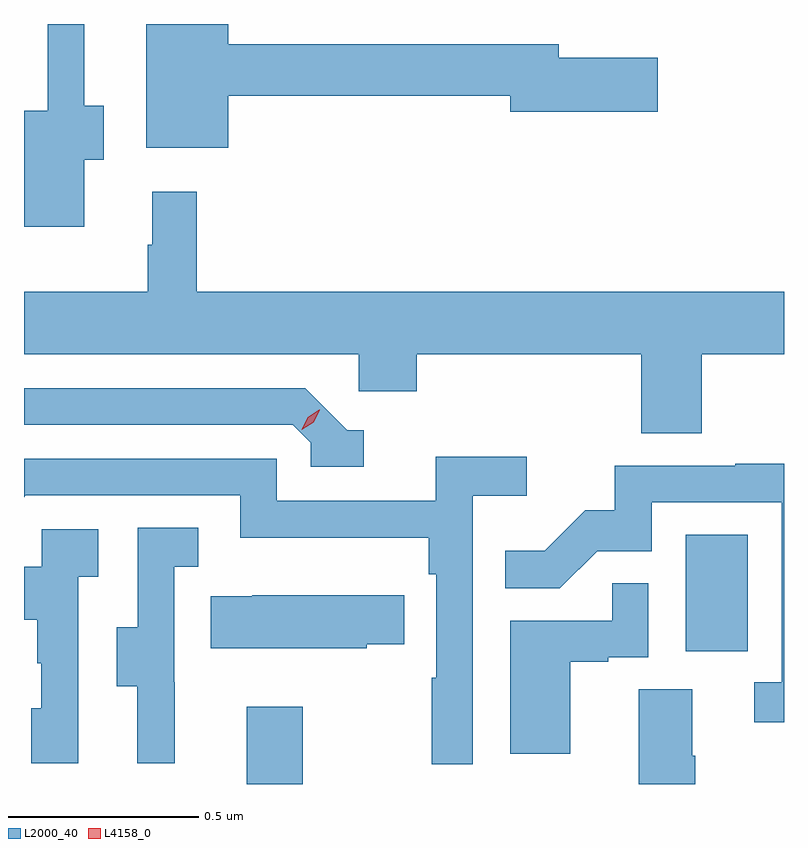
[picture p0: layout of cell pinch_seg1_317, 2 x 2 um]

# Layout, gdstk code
import gdstk
lib = gdstk.Library(unit=1e-6, precision=1e-09)
def R(c, l, rs):  # rectangles x0, y0, x1, y1
    for r in rs: c.add(gdstk.rectangle(r[:2], r[2:], *l))
def P(c, l, *ps):  # polygons
    for p in ps: c.add(gdstk.Polygon(p, *l))
L2000_40 = (2000, 40)
L4158_0 = (4158, 0)

pinch_seg1_317 = lib.new_cell('pinch_seg1_317')
R(pinch_seg1_317, L2000_40, [(913.013,561.257,913.161,561.46), (914.168,561.606,914.332,561.913)])
P(pinch_seg1_317, L2000_40, [(912.964,563.068),(913.706,563.068),(913.706,563.026),(914.095,563.026),(914.095,563.168),(913.834,563.168),(913.834,563.204),(912.964,563.204),(912.964,563.257),(912.749,563.257),(912.749,562.931),(912.964,562.931)],
  [(912.586,562.9),(912.637,562.9),(912.637,563.042),(912.586,563.042),(912.586,563.257),(912.489,563.257),(912.489,563.029),(912.427,563.029),(912.427,562.724),(912.586,562.724)],
  [(914.211,562.388),(914.427,562.388),(914.427,562.552),(912.881,562.552),(912.881,562.816),(912.764,562.816),(912.764,562.676),(912.753,562.676),(912.753,562.552),(912.427,562.552),(912.427,562.388),(913.308,562.388),(913.308,562.29),(913.46,562.29),(913.46,562.388),(914.051,562.388),(914.051,562.18),(914.211,562.18)],
  [(913.321,562.188),(913.278,562.188),(913.167,562.299),(912.427,562.299),(912.427,562.203),(913.134,562.203),(913.182,562.155),(913.182,562.092),(913.321,562.092)],
  [(913.608,562.016),(913.75,562.016),(913.75,562.118),(913.511,562.118),(913.511,562.002),(913.092,562.002),(913.092,562.113),(912.427,562.113),(912.427,562.012),(912.432,562.017),(912.996,562.017),(912.996,561.905),(913.492,561.905),(913.492,561.809),(913.512,561.809),(913.512,561.536),(913.5,561.536),(913.5,561.309),(913.608,561.309)],
  [(914.427,562.1),(914.299,562.1),(914.299,562.095),(913.981,562.095),(913.981,561.978),(913.904,561.978),(913.797,561.871),(913.693,561.871),(913.693,561.772),(913.837,561.772),(913.935,561.87),(914.079,561.87),(914.079,561.999),(914.421,561.999),(914.421,561.525),(914.349,561.525),(914.349,561.42),(914.427,561.42)],
  [(912.824,561.525),(912.822,561.525),(912.822,561.829),(912.886,561.829),(912.886,561.932),(912.726,561.932),(912.726,561.669),(912.671,561.669),(912.671,561.514),(912.725,561.514),(912.725,561.312),(912.824,561.312)],
  [(912.57,561.803),(912.622,561.803),(912.622,561.927),(912.474,561.927),(912.474,561.829),(912.427,561.829),(912.427,561.689),(912.462,561.689),(912.462,561.575),(912.472,561.575),(912.472,561.456),(912.446,561.456),(912.446,561.312),(912.57,561.312)],
  [(913.864,561.579),(913.964,561.579),(913.964,561.591),(914.07,561.591),(914.07,561.785),(913.975,561.785),(913.975,561.687),(913.706,561.687),(913.706,561.336),(913.864,561.336)],
  [(913.329,561.625),(913.427,561.625),(913.427,561.754),(913.027,561.754),(913.027,561.751),(912.919,561.751),(912.919,561.614),(913.329,561.614)],
  [(914.193,561.332),(914.185,561.332),(914.185,561.506),(914.045,561.506),(914.045,561.257),(914.193,561.257)])
P(pinch_seg1_317, L4158_0, [(913.158,562.189),(913.158,562.189),(913.174,562.222),(913.204,562.242),(913.205,562.242),(913.205,562.241),(913.189,562.209),(913.158,562.189)])

lib.write_gds('pinch_seg1_317.gds')
